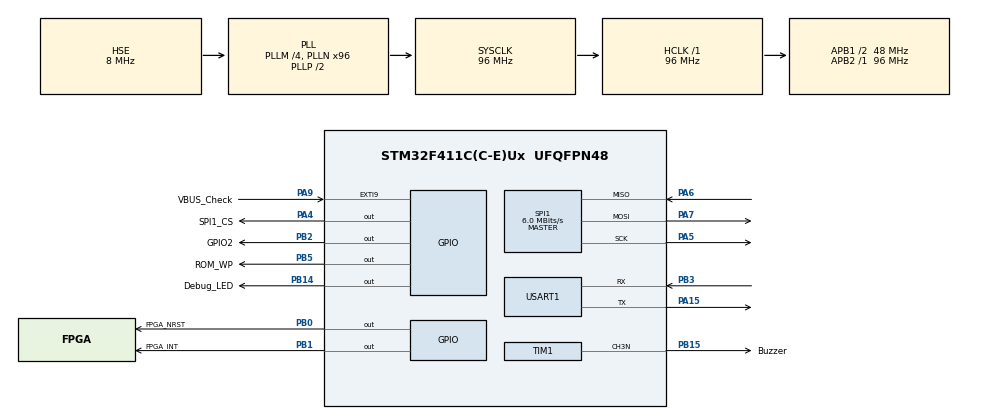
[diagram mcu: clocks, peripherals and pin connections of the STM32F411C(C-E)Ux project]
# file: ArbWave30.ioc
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Mcu.Family=STM32F4
Mcu.Name=STM32F411C(C-E)Ux
Mcu.Package=UFQFPN48
NVIC.PriorityGroup=NVIC_PRIORITYGROUP_4
NVIC.TIM1_TRG_COM_TIM11_IRQn=true\:15\:0\:false\:false\:true\:false\:true\:true
PA13.Mode=Serial_Wire
PA13.Signal=SYS_JTMS-SWDIO
PA14.Mode=Serial_Wire
PA14.Signal=SYS_JTCK-SWCLK
PA15.Mode=Asynchronous
PA15.Signal=USART1_TX
PA4.GPIO_Label=SPI1_CS
PA4.GPIO_Speed=GPIO_SPEED_FREQ_VERY_HIGH
PA4.PinState=GPIO_PIN_SET
PA4.Signal=GPIO_Output
PA5.Mode=Full_Duplex_Master
PA5.Signal=SPI1_SCK
PA6.Mode=Full_Duplex_Master
PA6.Signal=SPI1_MISO
PA7.Mode=Full_Duplex_Master
PA7.Signal=SPI1_MOSI
PA9.GPIO_Label=VBUS_Check
PA9.Signal=GPXTI9
PB0.GPIO_Label=FPGA_NRST
PB0.GPIO_Speed=GPIO_SPEED_FREQ_HIGH
PB0.PinState=GPIO_PIN_SET
PB0.Signal=GPIO_Output
PB1.GPIO_Label=FPGA_INT
PB1.GPIO_PuPd=GPIO_NOPULL
PB1.GPIO_Speed=GPIO_SPEED_FREQ_VERY_HIGH
PB1.PinState=GPIO_PIN_RESET
PB1.Signal=SharedStack_PB1
PB1.Stacked=true
PB14.GPIO_Label=Debug_LED
PB14.Signal=GPIO_Output
PB15.GPIO_Label=Buzzer
PB15.Mode=PWM Generation3 CH3N
PB15.Signal=TIM1_CH3N
PB2.GPIO_Label=GPIO2
PB2.GPIO_Speed=GPIO_SPEED_FREQ_VERY_HIGH
PB2.PinState=GPIO_PIN_RESET
PB2.Signal=GPIO_Output
PB3.Mode=Asynchronous
PB3.Signal=USART1_RX
PB5.GPIO_Label=ROM_WP
PB5.Signal=GPIO_Output
PC14-OSC32_IN.Mode=LSE-External-Oscillator
PC14-OSC32_IN.Signal=RCC_OSC32_IN
PC15-OSC32_OUT.Mode=LSE-External-Oscillator
PC15-OSC32_OUT.Signal=RCC_OSC32_OUT
PH0\ -\ OSC_IN.Mode=HSE-External-Oscillator
PH0\ -\ OSC_IN.Signal=RCC_OSC_IN
PH1\ -\ OSC_OUT.Mode=HSE-External-Oscillator
PH1\ -\ OSC_OUT.Signal=RCC_OSC_OUT
ProjectManager.HeapSize=0x200
ProjectManager.StackSize=0x400
ProjectManager.TargetToolchain=MDK-ARM V5.32
RCC.48MHZClocksFreq_Value=48000000
RCC.AHBFreq_Value=96000000
RCC.APB1CLKDivider=RCC_HCLK_DIV2
RCC.APB1Freq_Value=48000000
RCC.APB1TimFreq_Value=96000000
RCC.APB2Freq_Value=96000000
RCC.APB2TimFreq_Value=96000000
RCC.CortexFreq_Value=96000000
RCC.HCLKFreq_Value=96000000
RCC.HSE_VALUE=8000000
RCC.HSI_VALUE=16000000
RCC.PLLM=4
RCC.PLLN=96
RCC.PLLSourceVirtual=RCC_PLLSOURCE_HSE
RCC.RCC_RTC_Clock_Source=RCC_RTCCLKSOURCE_LSE
RCC.RCC_RTC_Clock_SourceVirtual=RCC_RTCCLKSOURCE_LSE
RCC.RCC_RTC_Clock_Source_FROM_HSE=RCC_RTCCLKSOURCE_HSE_DIV31
RCC.SYSCLKFreq_VALUE=96000000
RCC.SYSCLKSource=RCC_SYSCLKSOURCE_PLLCLK
RCC.VCOOutputFreq_Value=192000000
SH.SharedStack_PB1.0=GPIO_Output+0
SH.SharedStack_PB1.1=GPIO_Input
SPI1.BaudRatePrescaler=SPI_BAUDRATEPRESCALER_16
SPI1.CRCCalculation=SPI_CRCCALCULATION_DISABLE
SPI1.CalculateBaudRate=6.0 MBits/s
SPI1.Direction=SPI_DIRECTION_2LINES
SPI1.Mode=SPI_MODE_MASTER
SPI1.VirtualType=VM_MASTER
TIM1.Channel-PWM\ Generation3\ CH3N=TIM_CHANNEL_3
USART1.VirtualMode=VM_ASYNC
VP_RTC_VS_RTC_Activate.Mode=RTC_Enabled
VP_RTC_VS_RTC_Calendar.Mode=RTC_Calendar
VP_TIM1_VS_ClockSourceINT.Mode=Internal
board=custom

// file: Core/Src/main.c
/* USER CODE BEGIN Header */
/**
  ******************************************************************************
  * @file           : main.c
  * @brief          : Main program body
  ******************************************************************************
  * @attention
  *
  * Copyright (c) 2026 STMicroelectronics.
  * All rights reserved.
  *
  * This software is licensed under terms that can be found in the LICENSE file
  * in the root directory of this software component.
  * If no LICENSE file comes with this software, it is provided AS-IS.
  *
  ******************************************************************************
  */
/* USER CODE END Header */
#include "main.h"
#include "rtc.h"
#include "spi.h"
#include "tim.h"
#include "usart.h"
#include "gpio.h"

/* USER CODE BEGIN Includes */
#include "analog_board_driver.h"
/* USER CODE END Includes */

/* USER CODE BEGIN PD */
#define FREQ_CTRL_WORD_1MHz 1876499844737
#define FREQ_CTRL_WORD_10MHz 18764998447377
/* USER CODE END PD */

void SystemClock_Config(void);

int main(void)
{

  /* MCU Configuration--------------------------------------------------------*/

  /* Reset of all peripherals, Initializes the Flash interface and the Systick. */
  HAL_Init();

  /* Configure the system clock */
  SystemClock_Config();

  /* Initialize all configured peripherals */
  MX_GPIO_Init();
  MX_SPI1_Init();
  MX_USART1_UART_Init();
  MX_RTC_Init();
  MX_TIM1_Init();
  /* USER CODE BEGIN 2 */
  wait_analog_board_ready();

  HAL_Delay(1000);
  // 1MHz 频率控制字
  send_command(0x11, FREQ_CTRL_WORD_1MHz & 0xffff);
  send_command(0x12, (FREQ_CTRL_WORD_1MHz >> 16) & 0xffff);
  send_command(0x13, (FREQ_CTRL_WORD_1MHz >> 32) & 0xffff);

  // 幅度控制字
  send_command(0x14, 0x7fff);
  // 打开通道1
  send_command(0x10, 0x8000);
  // 影子寄存器更新
  send_command(0x02, 0x0008);

  HAL_Delay(2000);
  // 10MHz 频率控制字
  send_command(0x11, FREQ_CTRL_WORD_10MHz & 0xffff);
  send_command(0x12, (FREQ_CTRL_WORD_10MHz >> 16) & 0xffff);
  send_command(0x13, (FREQ_CTRL_WORD_10MHz >> 32) & 0xffff);
  // 影子寄存器更新
  send_command(0x02, 0x0008);

  /* USER CODE END 2 */

  /* USER CODE END 2 */

  /* Infinite loop */
  /* USER CODE BEGIN WHILE */
  while (1)
  {
    HAL_GPIO_TogglePin(Debug_LED_GPIO_Port, Debug_LED_Pin);
    HAL_Delay(500 - 1);

    /* USER CODE END WHILE */

  }
}

void SystemClock_Config(void)
{
  RCC_OscInitTypeDef RCC_OscInitStruct = {0};
  RCC_ClkInitTypeDef RCC_ClkInitStruct = {0};

  /** Configure the main internal regulator output voltage
  */
  __HAL_RCC_PWR_CLK_ENABLE();
  __HAL_PWR_VOLTAGESCALING_CONFIG(PWR_REGULATOR_VOLTAGE_SCALE1);

  /** Initializes the RCC Oscillators according to the specified parameters
  * in the RCC_OscInitTypeDef structure.
  */
  RCC_OscInitStruct.OscillatorType = RCC_OSCILLATORTYPE_HSE|RCC_OSCILLATORTYPE_LSE;
  RCC_OscInitStruct.HSEState = RCC_HSE_ON;
  RCC_OscInitStruct.LSEState = RCC_LSE_ON;
  RCC_OscInitStruct.PLL.PLLState = RCC_PLL_ON;
  RCC_OscInitStruct.PLL.PLLSource = RCC_PLLSOURCE_HSE;
  RCC_OscInitStruct.PLL.PLLM = 4;
  RCC_OscInitStruct.PLL.PLLN = 96;
  RCC_OscInitStruct.PLL.PLLP = RCC_PLLP_DIV2;
  RCC_OscInitStruct.PLL.PLLQ = 4;
  if (HAL_RCC_OscConfig(&RCC_OscInitStruct) != HAL_OK)
  {
    Error_Handler();
  }

  /** Initializes the CPU, AHB and APB buses clocks
  */
  RCC_ClkInitStruct.ClockType = RCC_CLOCKTYPE_HCLK|RCC_CLOCKTYPE_SYSCLK
                              |RCC_CLOCKTYPE_PCLK1|RCC_CLOCKTYPE_PCLK2;
  RCC_ClkInitStruct.SYSCLKSource = RCC_SYSCLKSOURCE_PLLCLK;
  RCC_ClkInitStruct.AHBCLKDivider = RCC_SYSCLK_DIV1;
  RCC_ClkInitStruct.APB1CLKDivider = RCC_HCLK_DIV2;
  RCC_ClkInitStruct.APB2CLKDivider = RCC_HCLK_DIV1;

  if (HAL_RCC_ClockConfig(&RCC_ClkInitStruct, FLASH_LATENCY_3) != HAL_OK)
  {
    Error_Handler();
  }
}

void Error_Handler(void)
{
  __disable_irq();
  while (1)
  {
  }
}
